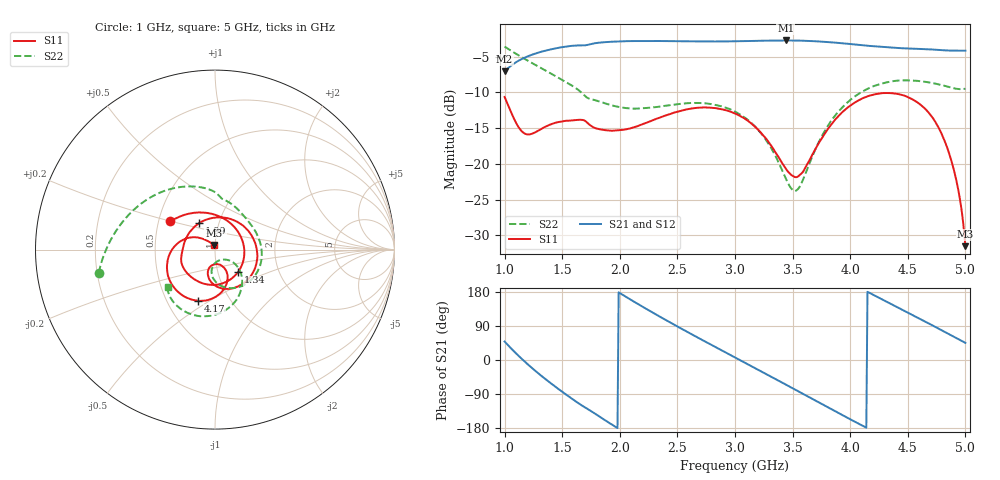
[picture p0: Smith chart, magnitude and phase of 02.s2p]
!Agilent Technologies,N5224A,MY51441093,A.09.90.21
!Agilent N5224A: A.09.90.21
!Date: Wednesday, October 01, 2025 16:36:18
!Correction: S11(Full 2 Port(1,2))
!S21(Full 2 Port(1,2))
!S12(Full 2 Port(1,2))
!S22(Full 2 Port(1,2))
!S2P File: Measurements: S11, S21, S12, S22:
# Hz S  dB  R 50
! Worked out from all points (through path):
!   401 points, 1 GHz to 5 GHz, reference 50 ohm
!   highest |S21| = -2.74 dB at 3.44 GHz (marker M1); lowest = -7.1 dB at 1 GHz (marker M2)
!   lowest |S11| = -31.5 dB at 5 GHz (marker M3), VSWR 1.05, Z = 49.2 + j2.53 ohm
!   |S11| at or under -10 dB: start of sweep to end of sweep
!   |S22| runs from -23.8 to -3.6 dB; largest |S21 - S12| = 0.0035
!   S11 on the Smith chart (normalised r, x): 1 GHz: 0.58, +0.20; 1.34 GHz: 1.24, -0.33; 1.99 GHz: 0.80, +0.24; 4.17 GHz: 0.71, -0.45; 5 GHz: 0.98, +0.05
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1e9  -10.64 147.7  -7.05 48.7  -7.03 48.7  -3.60 -168.7
1.17e9  -15.72 43.4  -5.18 -2.9  -5.17 -3.0  -5.28 165.1
1.34e9  -14.91 -44.9  -4.22 -46.9  -4.22 -46.9  -6.81 139.1
1.51e9  -14.02 -102.2  -3.65 -86.0  -3.65 -86.1  -8.36 112.9
1.67e9  -13.84 -149.9  -3.43 -119.8  -3.43 -119.9  -10.08 88.4
1.84e9  -15.20 161.9  -3.02 -152.7  -3.00 -152.7  -11.37 70.0
1.99e9  -15.30 121.1  -2.88 178.5  -2.86 178.5  -12.04 53.1
2.15e9  -14.75 78.4  -2.82 149.1  -2.81 149.1  -12.27 36.0
2.34e9  -13.58 33.9  -2.82 115.7  -2.81 115.7  -12.01 15.0
2.64e9  -12.22 -22.4  -2.86 65.2  -2.85 65.2  -11.48 -21.6
3e9  -12.97 -76.1  -2.85 6.8  -2.83 6.9  -12.68 -67.7
3.21e9  -15.37 -100.3  -2.79 -27.1  -2.77 -27.1  -15.42 -91.3
3.44e9  -20.64 -103.4  -2.74 -64.7  -2.72 -64.7  -22.01 -92.8
3.54e9  -21.84 -82.7  -2.75 -81.2  -2.74 -81.3  -23.63 -61.2
3.67e9  -18.75 -63.2  -2.83 -102.7  -2.81 -102.8  -18.99 -35.8
3.93e9  -12.78 -78.3  -3.13 -145.2  -3.11 -145.3  -12.13 -52.5
4.17e9  -10.45 -108.1  -3.50 176.8  -3.48 176.6  -9.36 -79.3
4.34e9  -10.10 -131.7  -3.72 150.3  -3.69 150.1  -8.52 -97.9
4.57e9  -11.26 -165.7  -3.90 114.4  -3.88 114.2  -8.37 -120.2
4.77e9  -15.01 160.5  -4.06 82.3  -4.04 82.2  -8.89 -135.2
4.91e9  -21.50 136.9  -4.16 60.1  -4.15 60.0  -9.47 -141.0
5e9  -31.51 105.3  -4.17 45.2  -4.15 45.0  -9.49 -141.9
